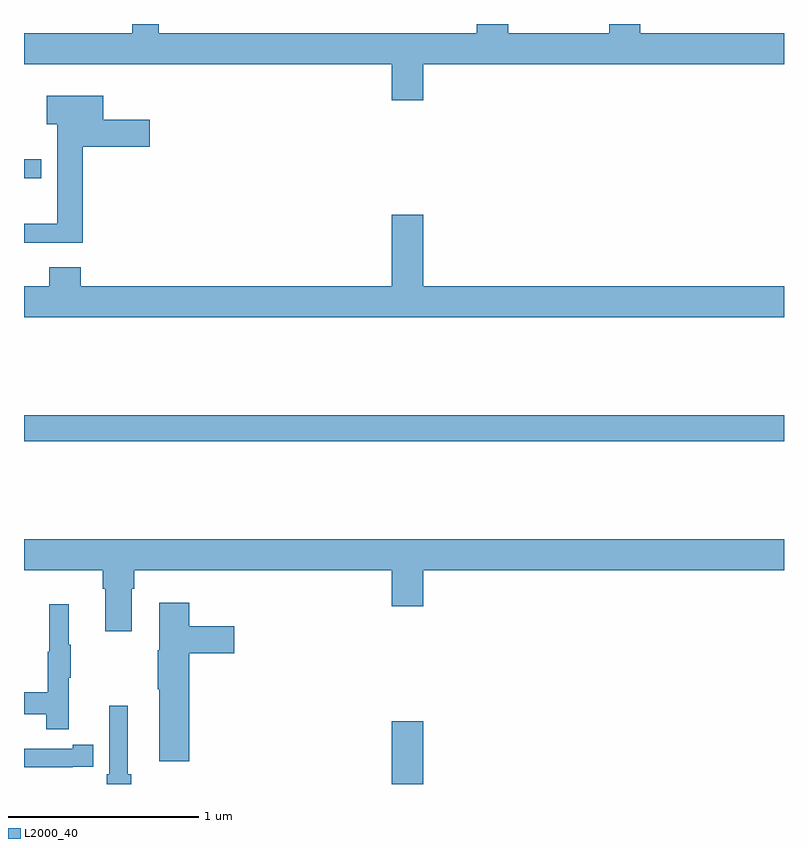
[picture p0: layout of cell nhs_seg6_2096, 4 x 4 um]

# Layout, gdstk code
import gdstk
lib = gdstk.Library(unit=1e-6, precision=1e-09)
def R(c, l, rs):  # rectangles x0, y0, x1, y1
    for r in rs: c.add(gdstk.rectangle(r[:2], r[2:], *l))
def P(c, l, *ps):  # polygons
    for p in ps: c.add(gdstk.Polygon(p, *l))
L2000_40 = (2000, 40)

nhs_seg6_2096 = lib.new_cell('nhs_seg6_2096')
R(nhs_seg6_2096, L2000_40, [(236.936,991.5,237.1,991.831), (235,993.304,239,993.44), (235,994.687,235.09,994.787)])
P(nhs_seg6_2096, L2000_40, [(237.1,995.288),(239,995.288),(239,995.452),(238.244,995.452),(238.244,995.5),(238.079,995.5),(238.079,995.452),(237.548,995.452),(237.548,995.5),(237.383,995.5),(237.383,995.452),(235.71,995.452),(235.71,995.5),(235.571,995.5),(235.571,995.452),(235,995.452),(235,995.288),(236.936,995.288),(236.936,995.1),(237.1,995.1)],
  [(235.31,994.853),(235.663,994.853),(235.663,994.995),(235.417,994.995),(235.417,995.122),(235.119,995.122),(235.119,994.973),(235.175,994.973),(235.175,994.449),(235,994.449),(235,994.349),(235.31,994.349)],
  [(239,994.12),(237.1,994.12),(237.1,994.495),(236.936,994.495),(236.936,994.12),(235.298,994.12),(235.298,994.219),(235.133,994.219),(235.133,994.12),(235,994.12),(235,993.956),(239,993.956)],
  [(235,992.624),(235.415,992.624),(235.415,992.528),(235.427,992.528),(235.427,992.304),(235.567,992.304),(235.567,992.528),(235.58,992.528),(235.58,992.624),(236.936,992.624),(236.936,992.436),(237.1,992.436),(237.1,992.624),(239,992.624),(239,992.788),(235,992.788)],
  [(235.871,992.189),(236.107,992.189),(236.107,992.331),(235.871,992.331),(235.871,992.455),(235.712,992.455),(235.712,992.205),(235.705,992.205),(235.705,991.999),(235.712,991.999),(235.712,991.62),(235.871,991.62)],
  [(235.235,992.059),(235.246,992.059),(235.246,992.233),(235.235,992.233),(235.235,992.446),(235.132,992.446),(235.132,992.196),(235.125,992.196),(235.125,991.982),(235,991.982),(235,991.866),(235.117,991.866),(235.117,991.788),(235.235,991.788)],
  [(235.565,991.552),(235.546,991.552),(235.546,991.912),(235.449,991.912),(235.449,991.552),(235.436,991.552),(235.436,991.5),(235.565,991.5)],
  [(235.256,991.59),(235.364,991.59),(235.364,991.706),(235.256,991.706),(235.256,991.686),(235,991.686),(235,991.589),(235.256,991.589)])

lib.write_gds('nhs_seg6_2096.gds')
